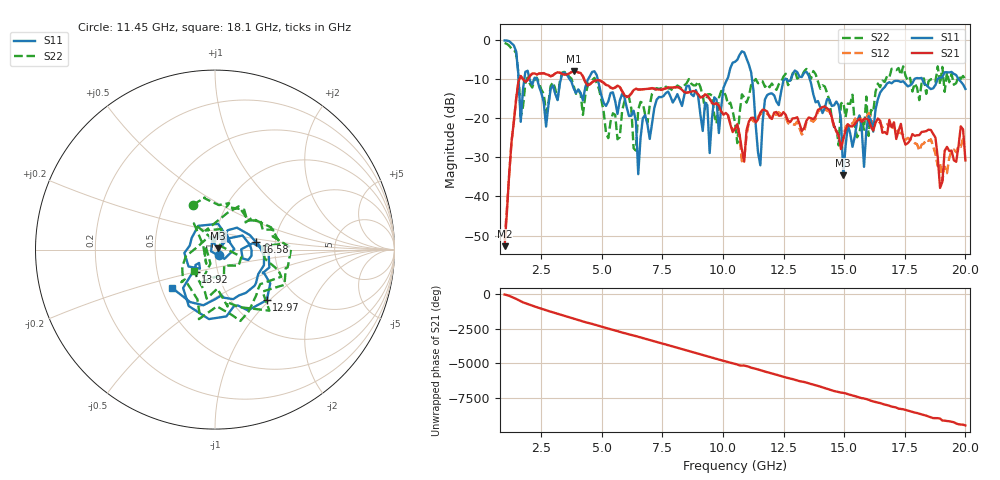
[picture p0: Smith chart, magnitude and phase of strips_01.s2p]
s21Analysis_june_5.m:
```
clear all;
close all;
%%%%%%%%%%%%%%%%%%%%%%%%%%%%%%%%%%%%%%%%%%%%%%%%%%%%%%%%%%%%%%%%%%%%%%%%%%
%%%%%%%%%%%%%%%%%%%%%%%%%%%%%%%%%%%%%%%%%%%%%%%%%%%%%%%%%%%%%%%%%%%%%%%%%%
%
%               the following code is for strips
%               the metal strips attached on the foam
%
%%%%%%%%%%%%%%%%%%%%%%%%%%%%%%%%%%%%%%%%%%%%%%%%%%%%%%%%%%%%%%%%%%%%%%%%%%
%%%%%%%%%%%%%%%%%%%%%%%%%%%%%%%%%%%%%%%%%%%%%%%%%%%%%%%%%%%%%%%%%%%%%%%%%%

filename = 'strips_01.s2p';
TDM = zeros(201, 25);
TScale = linspace(0, 200/16, 201);
ExScale = 1:25;
for i = 1:9
    filename(9) = num2str(i,2);
    Fnames(i,:) = filename;
end
for i = 10:19
    filename(8) = num2str(1,2);
    filename(9) = num2str(i-10,2);
    Fnames(i,:) = filename;
end
for i = 20:25
    filename(8) = num2str(2,2);
    filename(9) = num2str(i-20,2);
    Fnames(i,:) = filename;
end 


for i = 1 : 25
    name = Fnames(i,:);
    dat = sparameters(name);
    
    s21 = dat.Parameters(2,1,:);
    x = s21;
    s21 = reshape(x,size(x,3),size(x,1)*size(x,2));
    
    td = ifft(s21);
    TDM(:,i) = td;
end
dat = sparameters('mid_anb.s2p');
%dat = sparameters('mid_air.s2p');
s21 = dat.Parameters(2,1,:);
x = s21;
s21 = reshape(x,size(x,3),size(x,1)*size(x,2));
mid_air = ifft(s21);

figure
imagesc(ExScale, TScale, db(TDM));
colorbar;
caxis([-70 -30]);
title('strips-time-position')
grid;

sub = db((TDM) - (TDM(:,1)) * ones(1,25));
figure;
imagesc(ExScale, TScale, sub);
colorbar;
title('strips-time-position-substract-first')
caxis([-30 20]);

sub = db((TDM) - (mid_air) * ones(1,25));
figure;
imagesc(ExScale, TScale, sub);
colorbar;
title('strips-time-position-substract-center-air')
caxis([-30 20]);











%%%%%%%%%%%%%%%%%%%%%%%%%%%%%%%%%%%%%%%%%%%%%%%%%%%%%%%%%%%%%%%%%%%%%%%%%%
%%%%%%%%%%%%%%%%%%%%%%%%%%%%%%%%%%%%%%%%%%%%%%%%%%%%%%%%%%%%%%%%%%%%%%%%%%

%               the following code is for foam adhensive
%               the adhesive fluid is poured into the foam
%
%%%%%%%%%%%%%%%%%%%%%%%%%%%%%%%%%%%%%%%%%%%%%%%%%%%%%%%%%%%%%%%%%%%%%%%%%%
%%%%%%%%%%%%%%%%%%%%%%%%%%%%%%%%%%%%%%%%%%%%%%%%%%%%%%%%%%%%%%%%%%%%%%%%%%


filename = 'foam_adhensive_01.s2p';
TDM = zeros(201, 25);
TScale = linspace(0, 200/16, 201);
ExScale = 1:25;

for i = 1:9
    filename(17) = num2str(i,2);
    Fnames1(i,:) = filename;
end
for i = 10:19
    filename(16) = num2str(1,2);
    filename(17) = num2str(i-10,2);
    Fnames1(i,:) = filename;
end
for i = 20:25
    filename(16) = num2str(2,2);
    filename(17) = num2str(i-20,2);
    Fnames1(i,:) = filename;
end
for i = 1 : 25
    name = Fnames1(i,:);
    dat = sparameters(name);
    
    s21 = dat.Parameters(2,1,:);
    x = s21;
    s21 = reshape(x,size(x,3),size(x,1)*size(x,2));
    
    td = ifft(s21);
    TDM(:,i) = td;
end
figure
imagesc(ExScale, TScale, db(TDM));
colorbar;
caxis([-70 -30]);
title('foam-adsv-time-position')
grid;

sub = db((TDM) -(TDM(:,1)) * ones(1,25));
figure;
imagesc(ExScale, TScale, sub);
colorbar;
title('foam-adsv-position-substract-first')
caxis([-60 -35]);

sub = db((TDM) -(mid_air) * ones(1,25));
figure;
imagesc(ExScale, TScale, sub);
colorbar;
title('foam-adsv-position-substract-center-air')
caxis([-60 -40]);

%%%%%%%%%%%%%%%%%%%%%%%%%%%%%%%%%%%%%%%%%%%%%%%%%%%%%%%%%%%%%%%%%%%%%%%%%%
%%%%%%%%%%%%%%%%%%%%%%%%%%%%%%%%%%%%%%%%%%%%%%%%%%%%%%%%%%%%%%%%%%%%%%%%%%
%
%               the following code is for foam nail
%               the nail is place inside of the foam
%
%%%%%%%%%%%%%%%%%%%%%%%%%%%%%%%%%%%%%%%%%%%%%%%%%%%%%%%%%%%%%%%%%%%%%%%%%%
%%%%%%%%%%%%%%%%%%%%%%%%%%%%%%%%%%%%%%%%%%%%%%%%%%%%%%%%%%%%%%%%%%%%%%%%%%


filename = 'foam_nail_01.s2p';
TDM = zeros(201, 25);
TScale = linspace(0, 200/16, 201);
ExScale = 1:25;

for i = 1:9
    filename(12) = num2str(i,2);
    Fnames2(i,:) = filename;
end
for i = 10:19
    filename(11) = num2str(1,2);
    filename(12) = num2str(i-10,2);
    Fnames2(i,:) = filename;
end
for i = 20:25
    filename(11) = num2str(2,2);
    filename(12) = num2str(i-20,2);
    Fnames2(i,:) = filename;
end  

for i = 1 : 25
    name = Fnames2(i,:);
    dat = sparameters(name);
    
    s21 = dat.Parameters(2,1,:);
    x = s21;
    s21 = reshape(x,size(x,3),size(x,1)*size(x,2));
    
    td = ifft(s21);
    TDM(:,i) = td;
end
figure
imagesc(ExScale, TScale, db(TDM));
colorbar;
caxis([-70 -30]);
title('foam-nail-time-position')
grid;

sub = db((TDM) -(TDM(:,11)) * ones(1,25));
figure;
imagesc(ExScale, TScale, sub);
colorbar;
title('foam-nail-position-substract-first')
caxis([-30 20]);

sub = db((TDM) - (mid_air) * ones(1,25));
figure;
imagesc(ExScale, TScale, sub);
colorbar;
title('foam-nail-position-substract-center-air')
caxis([-30 20]);


%%%%%%%%%%%%%%%%%%%%%%%%%%%%%%%%%%%%%%%%%%%%%%%%%%%%%%%%%%%%%%%%%%%%%%%%%%
%%%%%%%%%%%%%%%%%%%%%%%%%%%%%%%%%%%%%%%%%%%%%%%%%%%%%%%%%%%%%%%%%%%%%%%%%%
%
%               the following code is for bottle with adhesive and nail
%               the nail is inside of the adhesive in the bottle
%
%%%%%%%%%%%%%%%%%%%%%%%%%%%%%%%%%%%%%%%%%%%%%%%%%%%%%%%%%%%%%%%%%%%%%%%%%%
%%%%%%%%%%%%%%%%%%%%%%%%%%%%%%%%%%%%%%%%%%%%%%%%%%%%%%%%%%%%%%%%%%%%%%%%%%
filename = 'Adhesive_nail_01.s2p';
TDM = zeros(201, 25);
TScale = linspace(0, 200/16, 201);
ExScale = 1:25;
for i = 1:9
    filename(16) = num2str(i,2);
    Fnames3(i,:) = filename;
end
for i = 10:19
    filename(15) = num2str(1,2);
    filename(16) = num2str(i-10,2);
    Fnames3(i,:) = filename;
end
for i = 20:25
    filename(15) = num2str(2,2);
    filename(16) = num2str(i-20,2);
    Fnames3(i,:) = filename;
end    
for i = 1 : 25
    name = Fnames3(i,:);
    dat = sparameters(name);
    
    s21 = dat.Parameters(2,1,:);
    x = s21;
    s21 = reshape(x,size(x,3),size(x,1)*size(x,2));
    
    td = ifft(s21);
    TDM(:,i) = td;
end

figure
imagesc(ExScale, TScale, db(TDM));
colorbar;
caxis([-70 -30]);
title('bottle-with-adhesive-nail-time-position')
grid;

sub = db((TDM) - (TDM(:,1)) * ones(1,25));
figure;
imagesc(ExScale, TScale, sub);
colorbar;
title('botthe-with-adhesive-nail-time-position-substract-first')
caxis([-50 -30]);

sub = db((TDM) - (mid_air) * ones(1,25));
figure;
imagesc(ExScale, TScale, sub);
% pcolor(ExScale, TScale, sub);
%shading interp;
colorbar;
title('botthe-with-adhesive-nail-time-position-substract-center-air')
caxis([-60 -35]);
```
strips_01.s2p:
!Agilent Technologies,N5230A,MY45001629,A.07.50.67
!Agilent N5230A: A.07.50.67
!Date: Monday, June 05, 2017 16:31:58
!Correction: S11(Full 2 Port(1,2))
!S21(Full 2 Port(1,2))
!S12(Full 2 Port(1,2))
!S22(Full 2 Port(1,2))
!S2P File: Measurements: S11, S21, S12, S22:
# Hz S  dB  R 50
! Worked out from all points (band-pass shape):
!   201 points, 1 GHz to 20 GHz, reference 50 ohm
!   highest |S21| = -8.13 dB at 3.85 GHz (marker M1); lowest = -52.7 dB at 1 GHz (marker M2)
!   |S21| within 3 dB of the highest: 1.561 GHz to 4.36 GHz (2.799 GHz wide, 94.5 % of centre); 4.568 GHz to 5.1 GHz (531.7 MHz wide, 11 % of centre)
!   lowest |S11| = -34.6 dB at 14.96 GHz (marker M3), VSWR 1.04, Z = 51.7 + j0.849 ohm
!   |S11| at or under -10 dB: 4.835 GHz to 10.19 GHz (5.352 GHz wide, 71.2 % of centre); 11.2 GHz to 12.58 GHz (1.379 GHz wide, 11.6 % of centre); 13.58 GHz to 17.91 GHz (4.329 GHz wide, 27.5 % of centre)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
!   |S22| runs from -28.3 to -0.9 dB; largest |S21 - S12| = 0.04
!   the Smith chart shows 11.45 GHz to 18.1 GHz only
!   S11 on the Smith chart (normalised r, x): 11.45 GHz: 1.05, -0.06; 12.97 GHz: 1.43, -0.96; 13.92 GHz: 0.78, -0.20; 16.58 GHz: 1.58, +0.14; 18.1 GHz: 0.57, -0.27
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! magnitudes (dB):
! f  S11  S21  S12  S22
! 1 GHz  -0.2  -52.7  -51.1  -0.9
! 1.57 GHz  -9.0  -10.7  -10.7  -8.6
! 3.85 GHz  -12.5  -8.1  -8.1  -11.9
! 10.5 GHz  -5.7  -22.8  -22.7  -21.2
! 11.45 GHz  -28.8  -20.4  -19.7  -11.1
! 12.97 GHz  -7.9  -20.1  -21.7  -8.0
! 13.92 GHz  -15.7  -17.9  -18.4  -10.7
! 14.96 GHz  -34.6  -25.4  -25.2  -16.0
! 16.58 GHz  -12.7  -23.8  -22.4  -10.5
! 18.1 GHz  -9.9  -24.4  -28.3  -15.5
! 20 GHz  -12.6  -30.8  -25.3  -10.2
